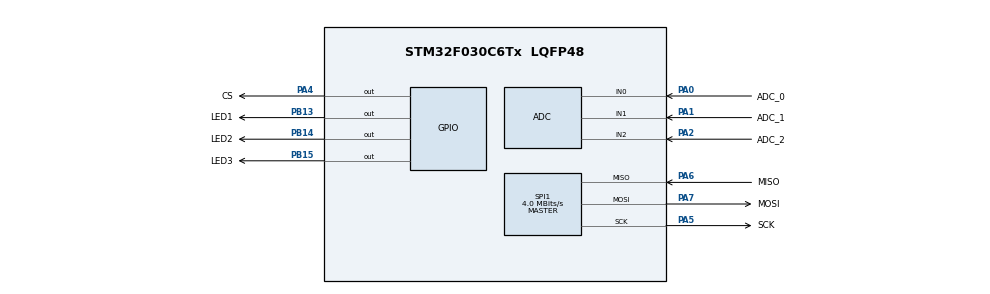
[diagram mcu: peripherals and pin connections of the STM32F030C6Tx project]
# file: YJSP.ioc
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Mcu.Family=STM32F0
Mcu.Name=STM32F030C6Tx
Mcu.Package=LQFP48
PA0.GPIO_Label=ADC_0
PA0.Mode=IN0
PA0.Signal=ADC_IN0
PA1.GPIO_Label=ADC_1
PA1.Mode=IN1
PA1.Signal=ADC_IN1
PA13.GPIO_Label=DEBUG
PA13.Mode=Serial_Wire
PA13.Signal=SYS_SWDIO
PA14.GPIO_Label=SWCLK
PA14.Mode=Serial_Wire
PA14.Signal=SYS_SWCLK
PA2.GPIO_Label=ADC_2
PA2.Mode=IN2
PA2.Signal=ADC_IN2
PA4.GPIO_Label=CS
PA4.PinState=GPIO_PIN_SET
PA4.Signal=GPIO_Output
PA5.GPIO_Label=SCK
PA5.Mode=Full_Duplex_Master
PA5.Signal=SPI1_SCK
PA6.GPIO_Label=MISO
PA6.Mode=Full_Duplex_Master
PA6.Signal=SPI1_MISO
PA7.GPIO_Label=MOSI
PA7.Mode=Full_Duplex_Master
PA7.Signal=SPI1_MOSI
PB13.GPIO_Label=LED1
PB13.Signal=GPIO_Output
PB14.GPIO_Label=LED2
PB14.Signal=GPIO_Output
PB15.GPIO_Label=LED3
PB15.Signal=GPIO_Output
ProjectManager.HeapSize=0x200
ProjectManager.StackSize=0x400
ProjectManager.TargetToolchain=STM32CubeIDE
SPI1.BaudRatePrescaler=SPI_BAUDRATEPRESCALER_2
SPI1.CLKPhase=SPI_PHASE_2EDGE
SPI1.CLKPolarity=SPI_POLARITY_HIGH
SPI1.CalculateBaudRate=4.0 MBits/s
SPI1.DataSize=SPI_DATASIZE_8BIT
SPI1.Direction=SPI_DIRECTION_2LINES
SPI1.Mode=SPI_MODE_MASTER
SPI1.VirtualType=VM_MASTER
board=custom

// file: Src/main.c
/* USER CODE BEGIN Header */
/**
  ******************************************************************************
  * @file           : main.c
  * @brief          : Main program body
  ******************************************************************************
  * @attention
  *
  * Copyright (c) 2026 STMicroelectronics.
  * All rights reserved.
  *
  * This software is licensed under terms that can be found in the LICENSE file
  * in the root directory of this software component.
  * If no LICENSE file comes with this software, it is provided AS-IS.
  *
  ******************************************************************************
  */
/* USER CODE END Header */
#include "main.h"

/* USER CODE BEGIN Includes */
#include <stdio.h>
/* USER CODE END Includes */

/* USER CODE BEGIN PTD */

typedef union {
	uint8_t reg;
	struct {
		uint8_t reserved : 1;
		uint8_t lpf2_xl_en : 1;
		uint8_t fs_xl : 2;
		uint8_t odr_xl : 4;
	} CONFIG_SPLIT;
} IMU_ACCEL_CONFIG;

typedef union {
	uint8_t reg;
	struct {
		uint8_t FS_4000 : 1;
		uint8_t FS_125 : 1;
		uint8_t FS_G : 2;
		uint8_t ODR_G : 4;
	} CONFIG_SPLIT;
} IMU_GYRO_CONFIG;

typedef union {
	uint8_t reg;
	struct {
		uint8_t SW_RESET : 1;
		uint8_t RESERVED : 1;
		uint8_t IF_INC : 1;
		uint8_t SIM : 1;
		uint8_t PP_OD : 1;
		uint8_t H_LACTIVE : 1;
		uint8_t BDU : 1;
		uint8_t BOOT : 1;
	} CONFIG_SPLIT;

} GENERAL_CONFIG;

typedef enum {
	OUTX_L_G = 0x22,
	OUTX_H_G = 0x23,
	OUTY_L_G = 0x24,
	OUTY_H_G = 0x25,
	OUTZ_L_G = 0x26,
	OUTZ_H_G = 0x27
} GYRO_REGISTERS;

typedef enum {
	OUTX_L_A = 0x28,
	OUTX_H_A = 0x29,
	OUTY_L_A = 0x2A,
	OUTY_H_A = 0x2B,
	OUTZ_L_A = 0x2C,
	OUTZ_H_A = 0x2D
} ACCEL_REGISTERS;

typedef enum {
    IMU_ODR_OFF = 0,
    IMU_ODR_12_5HZ = 1,
    IMU_ODR_26HZ = 2,
    IMU_ODR_52HZ = 3,
    IMU_ODR_104HZ = 4,
    IMU_ODR_208HZ = 5,
    IMU_ODR_416HZ = 6,
    IMU_ODR_833HZ = 7
} IMU_ODR;

typedef enum {
    IMU_ACCEL_2G = 0,
    IMU_ACCEL_16G = 1,
    IMU_ACCEL_4G = 2,
    IMU_ACCEL_8G = 3
} IMU_ACCEL_RANGE;

typedef enum {
    IMU_GYRO_250DPS = 0,
    IMU_GYRO_500DPS = 1,
    IMU_GYRO_1000DPS = 2,
    IMU_GYRO_2000DPS = 3
} IMU_GYRO_RANGE;

typedef union {
    int16_t value;

    struct {
        uint8_t low : 8;
        uint8_t high : 8;
    } bytes;
} IMU_RawData;

typedef struct{
	int16_t gyro_x;
	int16_t gyro_y;
	int16_t gyro_z;

	int16_t accel_x;
	int16_t accel_y;
	int16_t accel_z;
} IMU_FullData;

typedef struct {
    float accel_x;
    float accel_y;
    float accel_z;

    float gyro_x;
    float gyro_y;
    float gyro_z;
} IMU_ScaledData;

/* USER CODE END PTD */

/* USER CODE BEGIN PD */

#define IMU_WHO_AM_I 0x0F
#define IMU_CTRL1_XL  0x10
#define IMU_CTRL2_G   0x11
#define IMU_CTRL3_C   0x12

#define ACCEL_SENSITIVITY 0.000122f
#define GYRO_SENSITIVITY  0.0175f
#define GRAVITY           9.80665f

/* USER CODE END PD */

ADC_HandleTypeDef hadc;

SPI_HandleTypeDef hspi1;

void SystemClock_Config(void);
static void MX_GPIO_Init(void);
static void MX_ADC_Init(void);
static void MX_SPI1_Init(void);
/* USER CODE BEGIN PFP */

extern void initialise_monitor_handles(void);

/* USER CODE END PFP */

/* USER CODE BEGIN 0 */
HAL_StatusTypeDef IMU_ReadRegister(uint8_t reg, uint8_t *value) {
    if (value == NULL) {
        return HAL_ERROR;
    }

    uint8_t tx[2] = {reg | 0x80, 0x00};
    uint8_t rx[2] = {0};

    HAL_GPIO_WritePin(CS_GPIO_Port, CS_Pin, GPIO_PIN_RESET);

    HAL_StatusTypeDef status = HAL_SPI_TransmitReceive(
        &hspi1,
        tx,
        rx,
        2,
        100
    );

    HAL_GPIO_WritePin(CS_GPIO_Port, CS_Pin, GPIO_PIN_SET);

    if (status == HAL_OK) {
        *value = rx[1];
    }

    return status;
}

HAL_StatusTypeDef IMU_WriteRegister(uint8_t reg, uint8_t value) {
    uint8_t tx[2] = {reg & 0x7F, value};

    HAL_GPIO_WritePin(CS_GPIO_Port, CS_Pin, GPIO_PIN_RESET);

    HAL_StatusTypeDef status = HAL_SPI_Transmit(
        &hspi1,
        tx,
        2,
        100
    );

    HAL_GPIO_WritePin(CS_GPIO_Port, CS_Pin, GPIO_PIN_SET);

    return status;
}

HAL_StatusTypeDef IMU_INIT(void) {
	IMU_ACCEL_CONFIG accel = {0};
	IMU_GYRO_CONFIG gyro = {0};
	GENERAL_CONFIG general = {0};

	accel.CONFIG_SPLIT.odr_xl = IMU_ODR_208HZ;
	accel.CONFIG_SPLIT.fs_xl = IMU_ACCEL_4G;

	gyro.CONFIG_SPLIT.ODR_G = IMU_ODR_208HZ;
	gyro.CONFIG_SPLIT.FS_G = IMU_GYRO_500DPS;

	general.CONFIG_SPLIT.BDU = 1;
	general.CONFIG_SPLIT.IF_INC = 1;

	if (accel.reg != 0x58 ||
	    gyro.reg != 0x54 ||
	    general.reg != 0x44) {
	    return HAL_ERROR;
	}

	HAL_StatusTypeDef status;

	status = IMU_WriteRegister(IMU_CTRL3_C, general.reg);

	if (status != HAL_OK) {
		return status;
	}

	status = IMU_WriteRegister(IMU_CTRL1_XL, accel.reg);

	if (status != HAL_OK) {
		return status;
	}

	status = IMU_WriteRegister(IMU_CTRL2_G, gyro.reg);

	return status;

}

HAL_StatusTypeDef IMU_ReadBurst(uint8_t startReg, uint8_t *buffer, uint16_t length) {
    if (buffer == NULL || length == 0 || length > 12) {
        return HAL_ERROR;
    }

    uint8_t tx[13] = {0};
    uint8_t rx[13] = {0};

    tx[0] = startReg | 0x80;

    //select IMU
    HAL_GPIO_WritePin(CS_GPIO_Port, CS_Pin, GPIO_PIN_RESET);

    HAL_StatusTypeDef status = HAL_SPI_TransmitReceive(
        &hspi1,
        tx,
        rx,
        length + 1,
        100
    );

    // deselect IMU
    HAL_GPIO_WritePin(CS_GPIO_Port, CS_Pin, GPIO_PIN_SET);

    if (status != HAL_OK) {
        return status;
    }

    for (uint16_t i = 0; i < length; i++) {
        buffer[i] = rx[i + 1];
    }

    return HAL_OK;
}

HAL_StatusTypeDef IMU_ReadData(IMU_FullData *sensor) {
	if (sensor == NULL) {
		return HAL_ERROR;
	}

	uint8_t raw[12] = {0};
	HAL_StatusTypeDef status = IMU_ReadBurst(OUTX_L_G, raw, 12);

	if (status != HAL_OK) {
		return status;
	}

	IMU_RawData data = {0};

    // Gyroscope X
    data.bytes.low = raw[0];
    data.bytes.high = raw[1];
    sensor->gyro_x = data.value;

    // Gyroscope Y
    data.bytes.low = raw[2];
    data.bytes.high = raw[3];
    sensor->gyro_y = data.value;

    // Gyroscope Z
    data.bytes.low = raw[4];
    data.bytes.high = raw[5];
    sensor->gyro_z = data.value;

    // Accelerometer X
    data.bytes.low = raw[6];
    data.bytes.high = raw[7];
    sensor->accel_x = data.value;

    // Accelerometer Y
    data.bytes.low = raw[8];
    data.bytes.high = raw[9];
    sensor->accel_y = data.value;

    // Accelerometer Z
    data.bytes.low = raw[10];
    data.bytes.high = raw[11];
    sensor->accel_z = data.value;

    return HAL_OK;
}

void IMU_ConvertData(const IMU_FullData *raw, IMU_ScaledData *scaled) {
	scaled->accel_x = raw->accel_x * ACCEL_SENSITIVITY * GRAVITY;
	scaled->accel_y = raw->accel_y * ACCEL_SENSITIVITY * GRAVITY;
	scaled->accel_z = raw->accel_z * ACCEL_SENSITIVITY * GRAVITY;

	scaled->gyro_x = raw->gyro_x * GYRO_SENSITIVITY;
	scaled->gyro_y = raw->gyro_y * GYRO_SENSITIVITY;
	scaled->gyro_z = raw->gyro_z * GYRO_SENSITIVITY;
}

/* USER CODE END 0 */

int main(void)
{

  /* USER CODE BEGIN 1 */
  initialise_monitor_handles();
  /* USER CODE END 1 */

  /* MCU Configuration--------------------------------------------------------*/

  /* Reset of all peripherals, Initializes the Flash interface and the Systick. */
  HAL_Init();

  /* Configure the system clock */
  SystemClock_Config();

  /* USER CODE BEGIN SysInit */

  printf("Semihosting! \r\n");
  fflush(stdout);

  /* USER CODE END SysInit */

  /* Initialize all configured peripherals */
  MX_GPIO_Init();
  MX_ADC_Init();
  MX_SPI1_Init();
  /* USER CODE BEGIN 2 */

  uint8_t id = 0;
  IMU_FullData raw = {0};
  IMU_ScaledData scaled = {0};
  uint8_t imu_ready = 0;
  HAL_StatusTypeDef status = IMU_ReadRegister(IMU_WHO_AM_I, &id);

  if (status == HAL_OK) {

      printf("who am i result: 0x%02X\r\n", id);

      if (id == 0x6B) {
          printf("IMU detected successfully!\r\n");

          status = IMU_INIT();

          if (status == HAL_OK) {
        	  printf("IMU initialized \n");
        	  imu_ready = 1;
          } else {
        	  printf("IMU failed to initialize. \n");
          }

      } else {
          printf("Unexpected IMU ID!\r\n");
      }

  } else {
      printf("SPI communication failed!\r\n");
  }

  fflush(stdout);

  /* USER CODE END 2 */

  /* Infinite loop */
  /* USER CODE BEGIN WHILE */
  uint32_t lastRead = HAL_GetTick();
  uint32_t cycleCount = 0;
  while (1)
  {
	  uint32_t currentTime = HAL_GetTick();

	  if (imu_ready && (uint32_t) (currentTime - lastRead) >= 5) {
		  lastRead += 5;

		  status = IMU_ReadData(&raw);

		  if (status == HAL_OK) {
			  IMU_ConvertData(&raw, &scaled);

			  if (cycleCount % 100 == 0) {
				  printf("Gyroscope Data: X = %.3f, Y = %.3f, Z = %.3f", scaled.gyro_x, scaled.gyro_y, scaled.gyro_z);
				  printf("Acceleration Data: X = %.3f, Y = %.3f, Z = %.3f", scaled.accel_x, scaled.accel_y, scaled.accel_z);
				  printf("-------------------------------------------------------------------------------------------------");
			  }

		  }
		  cycleCount++;
	  }

    /* USER CODE END WHILE */

  }
}

void SystemClock_Config(void)
{
  RCC_OscInitTypeDef RCC_OscInitStruct = {0};
  RCC_ClkInitTypeDef RCC_ClkInitStruct = {0};

  /** Initializes the RCC Oscillators according to the specified parameters
  * in the RCC_OscInitTypeDef structure.
  */
  RCC_OscInitStruct.OscillatorType = RCC_OSCILLATORTYPE_HSI|RCC_OSCILLATORTYPE_HSI14;
  RCC_OscInitStruct.HSIState = RCC_HSI_ON;
  RCC_OscInitStruct.HSI14State = RCC_HSI14_ON;
  RCC_OscInitStruct.HSICalibrationValue = RCC_HSICALIBRATION_DEFAULT;
  RCC_OscInitStruct.HSI14CalibrationValue = 16;
  RCC_OscInitStruct.PLL.PLLState = RCC_PLL_NONE;
  if (HAL_RCC_OscConfig(&RCC_OscInitStruct) != HAL_OK)
  {
    Error_Handler();
  }

  /** Initializes the CPU, AHB and APB buses clocks
  */
  RCC_ClkInitStruct.ClockType = RCC_CLOCKTYPE_HCLK|RCC_CLOCKTYPE_SYSCLK
                              |RCC_CLOCKTYPE_PCLK1;
  RCC_ClkInitStruct.SYSCLKSource = RCC_SYSCLKSOURCE_HSI;
  RCC_ClkInitStruct.AHBCLKDivider = RCC_SYSCLK_DIV1;
  RCC_ClkInitStruct.APB1CLKDivider = RCC_HCLK_DIV1;

  if (HAL_RCC_ClockConfig(&RCC_ClkInitStruct, FLASH_LATENCY_0) != HAL_OK)
  {
    Error_Handler();
  }
}

static void MX_ADC_Init(void)
{

  ADC_ChannelConfTypeDef sConfig = {0};

  /** Configure the global features of the ADC (Clock, Resolution, Data Alignment and number of conversion)
  */
  hadc.Instance = ADC1;
  hadc.Init.ClockPrescaler = ADC_CLOCK_ASYNC_DIV1;
  hadc.Init.Resolution = ADC_RESOLUTION_12B;
  hadc.Init.DataAlign = ADC_DATAALIGN_RIGHT;
  hadc.Init.ScanConvMode = ADC_SCAN_DIRECTION_FORWARD;
  hadc.Init.EOCSelection = ADC_EOC_SINGLE_CONV;
  hadc.Init.LowPowerAutoWait = DISABLE;
  hadc.Init.LowPowerAutoPowerOff = DISABLE;
  hadc.Init.ContinuousConvMode = DISABLE;
  hadc.Init.DiscontinuousConvMode = DISABLE;
  hadc.Init.ExternalTrigConv = ADC_SOFTWARE_START;
  hadc.Init.ExternalTrigConvEdge = ADC_EXTERNALTRIGCONVEDGE_NONE;
  hadc.Init.DMAContinuousRequests = DISABLE;
  hadc.Init.Overrun = ADC_OVR_DATA_PRESERVED;
  if (HAL_ADC_Init(&hadc) != HAL_OK)
  {
    Error_Handler();
  }

  /** Configure for the selected ADC regular channel to be converted.
  */
  sConfig.Channel = ADC_CHANNEL_0;
  sConfig.Rank = ADC_RANK_CHANNEL_NUMBER;
  sConfig.SamplingTime = ADC_SAMPLETIME_1CYCLE_5;
  if (HAL_ADC_ConfigChannel(&hadc, &sConfig) != HAL_OK)
  {
    Error_Handler();
  }

  /** Configure for the selected ADC regular channel to be converted.
  */
  sConfig.Channel = ADC_CHANNEL_1;
  if (HAL_ADC_ConfigChannel(&hadc, &sConfig) != HAL_OK)
  {
    Error_Handler();
  }

  /** Configure for the selected ADC regular channel to be converted.
  */
  sConfig.Channel = ADC_CHANNEL_2;
  if (HAL_ADC_ConfigChannel(&hadc, &sConfig) != HAL_OK)
  {
    Error_Handler();
  }

}

static void MX_SPI1_Init(void)
{

  /* SPI1 parameter configuration*/
  hspi1.Instance = SPI1;
  hspi1.Init.Mode = SPI_MODE_MASTER;
  hspi1.Init.Direction = SPI_DIRECTION_2LINES;
  hspi1.Init.DataSize = SPI_DATASIZE_8BIT;
  hspi1.Init.CLKPolarity = SPI_POLARITY_HIGH;
  hspi1.Init.CLKPhase = SPI_PHASE_2EDGE;
  hspi1.Init.NSS = SPI_NSS_SOFT;
  hspi1.Init.BaudRatePrescaler = SPI_BAUDRATEPRESCALER_2;
  hspi1.Init.FirstBit = SPI_FIRSTBIT_MSB;
  hspi1.Init.TIMode = SPI_TIMODE_DISABLE;
  hspi1.Init.CRCCalculation = SPI_CRCCALCULATION_DISABLE;
  hspi1.Init.CRCPolynomial = 7;
  hspi1.Init.CRCLength = SPI_CRC_LENGTH_DATASIZE;
  hspi1.Init.NSSPMode = SPI_NSS_PULSE_DISABLE;
  if (HAL_SPI_Init(&hspi1) != HAL_OK)
  {
    Error_Handler();
  }

}

static void MX_GPIO_Init(void)
{
  GPIO_InitTypeDef GPIO_InitStruct = {0};

  /* GPIO Ports Clock Enable */
  __HAL_RCC_GPIOA_CLK_ENABLE();
  __HAL_RCC_GPIOB_CLK_ENABLE();

  /*Configure GPIO pin Output Level */
  HAL_GPIO_WritePin(CS_GPIO_Port, CS_Pin, GPIO_PIN_SET);

  /*Configure GPIO pin Output Level */
  HAL_GPIO_WritePin(GPIOB, LED1_Pin|LED2_Pin|LED3_Pin, GPIO_PIN_RESET);

  /*Configure GPIO pin : CS_Pin */
  GPIO_InitStruct.Pin = CS_Pin;
  GPIO_InitStruct.Mode = GPIO_MODE_OUTPUT_PP;
  GPIO_InitStruct.Pull = GPIO_NOPULL;
  GPIO_InitStruct.Speed = GPIO_SPEED_FREQ_LOW;
  HAL_GPIO_Init(CS_GPIO_Port, &GPIO_InitStruct);

  /*Configure GPIO pins : LED1_Pin LED2_Pin LED3_Pin */
  GPIO_InitStruct.Pin = LED1_Pin|LED2_Pin|LED3_Pin;
  GPIO_InitStruct.Mode = GPIO_MODE_OUTPUT_PP;
  GPIO_InitStruct.Pull = GPIO_NOPULL;
  GPIO_InitStruct.Speed = GPIO_SPEED_FREQ_LOW;
  HAL_GPIO_Init(GPIOB, &GPIO_InitStruct);

}

void Error_Handler(void)
{
  __disable_irq();
  while (1)
  {
  }
}
